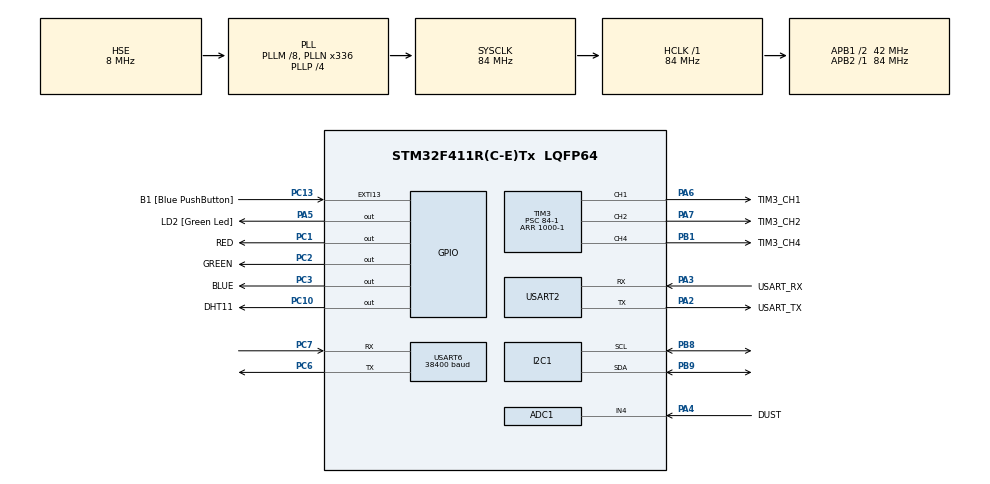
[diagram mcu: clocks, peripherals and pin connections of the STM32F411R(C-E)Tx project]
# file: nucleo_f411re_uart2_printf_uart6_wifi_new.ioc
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ADC1.Channel-3\#ChannelRegularConversion=ADC_CHANNEL_4
ADC1.NbrOfConversionFlag=1
ADC1.Rank-3\#ChannelRegularConversion=1
ADC1.Resolution=ADC_RESOLUTION_10B
ADC1.SamplingTime-3\#ChannelRegularConversion=ADC_SAMPLETIME_3CYCLES
ADC1.master=1
Mcu.Family=STM32F4
Mcu.Name=STM32F411R(C-E)Tx
Mcu.Package=LQFP64
NVIC.PriorityGroup=NVIC_PRIORITYGROUP_0
NVIC.TIM3_IRQn=true\:0\:0\:false\:false\:true\:true\:true\:true
NVIC.USART2_IRQn=true\:0\:0\:false\:false\:true\:true\:true\:true
NVIC.USART6_IRQn=true\:0\:0\:false\:false\:true\:true\:true\:true
PA13.GPIO_Label=TMS
PA13.Mode=Serial_Wire
PA13.Signal=SYS_JTMS-SWDIO
PA14.GPIO_Label=TCK
PA14.Mode=Serial_Wire
PA14.Signal=SYS_JTCK-SWCLK
PA2.GPIO_Label=USART_TX
PA2.Mode=Asynchronous
PA2.Signal=USART2_TX
PA3.GPIO_Label=USART_RX
PA3.Mode=Asynchronous
PA3.Signal=USART2_RX
PA4.GPIO_Label=DUST
PA4.Signal=ADCx_IN4
PA5.GPIO_Label=LD2 [Green Led]
PA5.Signal=GPIO_Output
PA6.GPIO_Label=TIM3_CH1
PA6.Signal=S_TIM3_CH1
PA7.GPIO_Label=TIM3_CH2
PA7.Signal=S_TIM3_CH2
PB1.GPIO_Label=TIM3_CH4
PB1.Signal=S_TIM3_CH4
PB3.GPIO_Label=SWO
PB3.Signal=SYS_JTDO-SWO
PB8.Mode=I2C
PB8.Signal=I2C1_SCL
PB9.Mode=I2C
PB9.Signal=I2C1_SDA
PC1.GPIO_Label=RED
PC1.Signal=GPIO_Output
PC10.GPIO_Label=DHT11
PC10.GPIO_ModeDefaultOutputPP=GPIO_MODE_OUTPUT_PP
PC10.Signal=GPIO_Output
PC13-ANTI_TAMP.GPIO_Label=B1 [Blue PushButton]
PC13-ANTI_TAMP.GPIO_ModeDefaultEXTI=GPIO_MODE_IT_FALLING
PC13-ANTI_TAMP.Signal=GPXTI13
PC14-OSC32_IN.Signal=RCC_OSC32_IN
PC15-OSC32_OUT.Signal=RCC_OSC32_OUT
PC2.GPIO_Label=GREEN
PC2.Signal=GPIO_Output
PC3.GPIO_Label=BLUE
PC3.Signal=GPIO_Output
PC6.Mode=Asynchronous
PC6.Signal=USART6_TX
PC7.Mode=Asynchronous
PC7.Signal=USART6_RX
PH0\ -\ OSC_IN.Mode=HSE-External-Oscillator
PH0\ -\ OSC_IN.Signal=RCC_OSC_IN
PH1\ -\ OSC_OUT.Mode=HSE-External-Oscillator
PH1\ -\ OSC_OUT.Signal=RCC_OSC_OUT
ProjectManager.HeapSize=0x200
ProjectManager.StackSize=0x400
ProjectManager.TargetToolchain=STM32CubeIDE
RCC.48MHZClocksFreq_Value=84000000
RCC.AHBFreq_Value=84000000
RCC.APB1CLKDivider=RCC_HCLK_DIV2
RCC.APB1Freq_Value=42000000
RCC.APB1TimFreq_Value=84000000
RCC.APB2Freq_Value=84000000
RCC.APB2TimFreq_Value=84000000
RCC.CortexFreq_Value=84000000
RCC.FLatency-AdvancedSettings=FLASH_LATENCY_2
RCC.HCLKFreq_Value=84000000
RCC.HSE_VALUE=8000000
RCC.HSI_VALUE=16000000
RCC.LSE_VALUE=32768
RCC.PLLM=8
RCC.PLLN=336
RCC.PLLP=RCC_PLLP_DIV4
RCC.PLLSourceVirtual=RCC_PLLSOURCE_HSE
RCC.SYSCLKFreq_VALUE=84000000
RCC.SYSCLKSource=RCC_SYSCLKSOURCE_PLLCLK
RCC.VCOOutputFreq_Value=336000000
SH.ADCx_IN4.0=ADC1_IN4,IN4
SH.S_TIM3_CH1.0=TIM3_CH1,PWM Generation1 CH1
SH.S_TIM3_CH2.0=TIM3_CH2,PWM Generation2 CH2
SH.S_TIM3_CH4.0=TIM3_CH4,PWM Generation4 CH4
TIM3.AutoReloadPreload=TIM_AUTORELOAD_PRELOAD_ENABLE
TIM3.Channel-PWM\ Generation1\ CH1=TIM_CHANNEL_1
TIM3.Channel-PWM\ Generation2\ CH2=TIM_CHANNEL_2
TIM3.Channel-PWM\ Generation4\ CH4=TIM_CHANNEL_4
TIM3.Period=1000-1
TIM3.Prescaler=84-1
TIM3.Pulse-PWM\ Generation1\ CH1=500
TIM3.Pulse-PWM\ Generation2\ CH2=500
TIM3.Pulse-PWM\ Generation4\ CH4=320
USART2.VirtualMode=VM_ASYNC
USART6.BaudRate=38400
USART6.VirtualMode=VM_ASYNC
VP_TIM3_VS_ClockSourceINT.Mode=Internal
board=NUCLEO-F411RE

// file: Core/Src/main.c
/* USER CODE BEGIN Header */
/**
  ******************************************************************************
  * @file           : main.c
  * @brief          : Main program body
  ******************************************************************************
  * @attention
  *
  * Copyright (c) 2024 STMicroelectronics.
  * All rights reserved.
  *
  * This software is licensed under terms that can be found in the LICENSE file
  * in the root directory of this software component.
  * If no LICENSE file comes with this software, it is provided AS-IS.
  *
  ******************************************************************************
  */
/* USER CODE END Header */
#include "main.h"

/* USER CODE BEGIN Includes */
#include <stdio.h>
#include <stdlib.h>
#include <string.h>
#include "esp.h"
#include "dht.h"
#include "clcd.h"
/* USER CODE END Includes */

/* USER CODE BEGIN PD */
#ifdef __GNUC__
/* With GCC, small printf (option LD Linker->Libraries->Small printf
   set to 'Yes') calls __io_putchar() */
#define PUTCHAR_PROTOTYPE int __io_putchar(int ch)
#else
#define PUTCHAR_PROTOTYPE int fputc(int ch, FILE *f)
#endif /* __GNUC__ */
#define ARR_CNT 5
#define CMD_SIZE 50

/* USER CODE END PD */

ADC_HandleTypeDef hadc1;

I2C_HandleTypeDef hi2c1;

TIM_HandleTypeDef htim3;

UART_HandleTypeDef huart2;
UART_HandleTypeDef huart6;

/* USER CODE BEGIN PV */
uint8_t rx2char;
volatile uint8_t Auto;
extern cb_data_t cb_data;
extern volatile unsigned char rx2Flag;
extern volatile char rx2Data[50];
volatile int tim3Flag1Sec=1;
volatile unsigned int tim3Sec;
/* USER CODE END PV */

void SystemClock_Config(void);
static void MX_GPIO_Init(void);
static void MX_USART2_UART_Init(void);
static void MX_USART6_UART_Init(void);
static void MX_TIM3_Init(void);
static void MX_I2C1_Init(void);
static void MX_ADC1_Init(void);
/* USER CODE BEGIN PFP */
char strBuff[MAX_ESP_COMMAND_LEN];
void MX_GPIO_LED_ON(int flag);
void MX_GPIO_LED_OFF(int flag);
void esp_event(char *);
void Start_DustSensor_LED(void);
void Stop_DustSensor_LED(void);
float Read_DustSensor(void);
/* USER CODE END PFP */

int main(void)
{

  /* USER CODE BEGIN 1 */
	Auto = 0;
	int ret = 0;
	int pulse = 0;
	int temp_pulse = 0;
	char char_temp[20];
	float temp;
	float dust;
  /* USER CODE END 1 */

  /* MCU Configuration--------------------------------------------------------*/

  /* Reset of all peripherals, Initializes the Flash interface and the Systick. */
  HAL_Init();

  /* Configure the system clock */
  SystemClock_Config();

  /* Initialize all configured peripherals */
  MX_GPIO_Init();
  MX_USART2_UART_Init();
  MX_USART6_UART_Init();
  MX_TIM3_Init();
  MX_I2C1_Init();
  MX_ADC1_Init();
  /* USER CODE BEGIN 2 */
  printf("Start main() - wifi\r\n");
  HAL_UART_Receive_IT(&huart2, &rx2char,1);
  DHT11_Init();
  LCD_init(&hi2c1);
  DHT11_TypeDef dht11Data = DHT11_readData();;
  char buff[200];

  LCD_writeStringXY(0, 0, "hello lcd");
  ret |= drv_uart_init();
  ret |= drv_esp_init();
  if(ret != 0)
  {
	  printf("Esp response error\r\n");
	  Error_Handler();
  }

  AiotClient_Init();
  if(HAL_TIM_Base_Start_IT(&htim3) != HAL_OK)
  {
	  Error_Handler();
  }
  if(HAL_TIM_PWM_Start(&htim3, TIM_CHANNEL_1) != HAL_OK)
  {
	  Error_Handler();
  }
  if(HAL_TIM_PWM_Start(&htim3, TIM_CHANNEL_2) != HAL_OK)
    {
  	  Error_Handler();
    }
  /* USER CODE END 2 */

  /* Infinite loop */
  /* USER CODE BEGIN WHILE */
  while (1)
  {

		if(strstr((char *)cb_data.buf,"+IPD") && cb_data.buf[cb_data.length-1] == '\n')
		{
			//?��?��?���??  \r\n+IPD,15:[KSH_LIN]HELLO\n
			strcpy(strBuff,strchr((char *)cb_data.buf,'['));
			memset(cb_data.buf,0x0,sizeof(cb_data.buf));
			cb_data.length = 0;
			esp_event(strBuff);
		}
		if(rx2Flag)
		{
			printf("recv2 : %s\r\n",rx2Data);
			rx2Flag =0;
		}
		if( dust < 5)
		{
		    HAL_GPIO_WritePin(BLUE_GPIO_Port, BLUE_Pin, GPIO_PIN_SET);
			HAL_GPIO_WritePin(GREEN_GPIO_Port, GREEN_Pin, GPIO_PIN_RESET);
			HAL_GPIO_WritePin(RED_GPIO_Port, RED_Pin, GPIO_PIN_RESET);
		}
		else if (5 <= dust && dust< 10)
		{
			HAL_GPIO_WritePin(RED_GPIO_Port, RED_Pin, GPIO_PIN_RESET);
			HAL_GPIO_WritePin(BLUE_GPIO_Port, BLUE_Pin, GPIO_PIN_RESET);
			HAL_GPIO_WritePin(GREEN_GPIO_Port, GREEN_Pin, GPIO_PIN_SET);
		}
		else
		{
			HAL_GPIO_WritePin(RED_GPIO_Port, RED_Pin, GPIO_PIN_SET);
			HAL_GPIO_WritePin(GREEN_GPIO_Port, GREEN_Pin, GPIO_PIN_RESET);
			HAL_GPIO_WritePin(BLUE_GPIO_Port, BLUE_Pin, GPIO_PIN_RESET);
		}
		if(Auto == 1)
		{
			if( dht11Data.rh_byte1 < 30)
				{
					pulse = 0;
				}
			else if (30 <= dht11Data.rh_byte1 && dht11Data.rh_byte1< 60)
				{
					pulse = 500;
				}
			else
				{
					pulse = 1000;
				}
			__HAL_TIM_SetCompare(&htim3, TIM_CHANNEL_1, (pulse-1)<0?0:pulse-1 );

			sprintf(char_temp,"%d.%d",dht11Data.temp_byte1,dht11Data.temp_byte2);
			temp = atof(char_temp);
			if( temp < 26.5)
				{
					temp_pulse = 0;
				}
			else if (26.5 <= temp && temp < 27.3)
				{
					temp_pulse = 500;
				}
			else
				{
					temp_pulse = 1000;
				}
			__HAL_TIM_SetCompare(&htim3, TIM_CHANNEL_2, (temp_pulse-1)<0?0:temp_pulse-1 );
		}
		else if (Auto == 0)
		{
			temp_pulse = 0;
			pulse = 0;
			__HAL_TIM_SetCompare(&htim3, TIM_CHANNEL_1, (pulse-1)<0?0:pulse-1 );
			__HAL_TIM_SetCompare(&htim3, TIM_CHANNEL_2, (temp_pulse-1)<0?0:temp_pulse-1 );

		}

		if(tim3Flag1Sec)	//1초에 한번
		{
			dht11Data = DHT11_readData();
			tim3Flag1Sec = 0;
			sprintf(buff,"h: %d%% t: %d.%d'C", dht11Data.rh_byte1, dht11Data.temp_byte1, dht11Data.temp_byte2);
			LCD_writeStringXY(1, 0, buff);
			if(!(tim3Sec%5))
			{
				Start_DustSensor_LED();    // LED 켜기
				HAL_Delay(1);              // 안정화 시간
				dust = Read_DustSensor();  // 미세먼지 값 읽기
				Stop_DustSensor_LED();     // LED 끄기
				printf("Dust Density: %.2f ug/m^3\n", dust);
				sprintf(buff,"dust:%.2f", dust);
				LCD_writeStringXY(0, 0, buff);
			}
			if(!(tim3Sec%20)) //20초에 한번
			{
				if(esp_get_status() != 0)
				{
					printf("server connecting ...\r\n");
					esp_client_conn();
				}
				sprintf(buff,"[KTH_SQL]SENSOR@%d@%d.%d@%.1f\n", dht11Data.rh_byte1, dht11Data.temp_byte1, dht11Data.temp_byte2, dust);
				esp_send_data(buff);
			}
		}

    /* USER CODE END WHILE */

  }
}

void SystemClock_Config(void)
{
  RCC_OscInitTypeDef RCC_OscInitStruct = {0};
  RCC_ClkInitTypeDef RCC_ClkInitStruct = {0};

  /** Configure the main internal regulator output voltage
  */
  __HAL_RCC_PWR_CLK_ENABLE();
  __HAL_PWR_VOLTAGESCALING_CONFIG(PWR_REGULATOR_VOLTAGE_SCALE1);

  /** Initializes the RCC Oscillators according to the specified parameters
  * in the RCC_OscInitTypeDef structure.
  */
  RCC_OscInitStruct.OscillatorType = RCC_OSCILLATORTYPE_HSE;
  RCC_OscInitStruct.HSEState = RCC_HSE_ON;
  RCC_OscInitStruct.PLL.PLLState = RCC_PLL_ON;
  RCC_OscInitStruct.PLL.PLLSource = RCC_PLLSOURCE_HSE;
  RCC_OscInitStruct.PLL.PLLM = 8;
  RCC_OscInitStruct.PLL.PLLN = 336;
  RCC_OscInitStruct.PLL.PLLP = RCC_PLLP_DIV4;
  RCC_OscInitStruct.PLL.PLLQ = 4;
  if (HAL_RCC_OscConfig(&RCC_OscInitStruct) != HAL_OK)
  {
    Error_Handler();
  }

  /** Initializes the CPU, AHB and APB buses clocks
  */
  RCC_ClkInitStruct.ClockType = RCC_CLOCKTYPE_HCLK|RCC_CLOCKTYPE_SYSCLK
                              |RCC_CLOCKTYPE_PCLK1|RCC_CLOCKTYPE_PCLK2;
  RCC_ClkInitStruct.SYSCLKSource = RCC_SYSCLKSOURCE_PLLCLK;
  RCC_ClkInitStruct.AHBCLKDivider = RCC_SYSCLK_DIV1;
  RCC_ClkInitStruct.APB1CLKDivider = RCC_HCLK_DIV2;
  RCC_ClkInitStruct.APB2CLKDivider = RCC_HCLK_DIV1;

  if (HAL_RCC_ClockConfig(&RCC_ClkInitStruct, FLASH_LATENCY_2) != HAL_OK)
  {
    Error_Handler();
  }
}

static void MX_ADC1_Init(void)
{

  ADC_ChannelConfTypeDef sConfig = {0};

  /** Configure the global features of the ADC (Clock, Resolution, Data Alignment and number of conversion)
  */
  hadc1.Instance = ADC1;
  hadc1.Init.ClockPrescaler = ADC_CLOCK_SYNC_PCLK_DIV4;
  hadc1.Init.Resolution = ADC_RESOLUTION_10B;
  hadc1.Init.ScanConvMode = DISABLE;
  hadc1.Init.ContinuousConvMode = DISABLE;
  hadc1.Init.DiscontinuousConvMode = DISABLE;
  hadc1.Init.ExternalTrigConvEdge = ADC_EXTERNALTRIGCONVEDGE_NONE;
  hadc1.Init.ExternalTrigConv = ADC_SOFTWARE_START;
  hadc1.Init.DataAlign = ADC_DATAALIGN_RIGHT;
  hadc1.Init.NbrOfConversion = 1;
  hadc1.Init.DMAContinuousRequests = DISABLE;
  hadc1.Init.EOCSelection = ADC_EOC_SINGLE_CONV;
  if (HAL_ADC_Init(&hadc1) != HAL_OK)
  {
    Error_Handler();
  }

  /** Configure for the selected ADC regular channel its corresponding rank in the sequencer and its sample time.
  */
  sConfig.Channel = ADC_CHANNEL_4;
  sConfig.Rank = 1;
  sConfig.SamplingTime = ADC_SAMPLETIME_3CYCLES;
  if (HAL_ADC_ConfigChannel(&hadc1, &sConfig) != HAL_OK)
  {
    Error_Handler();
  }

}

static void MX_I2C1_Init(void)
{

  hi2c1.Instance = I2C1;
  hi2c1.Init.ClockSpeed = 100000;
  hi2c1.Init.DutyCycle = I2C_DUTYCYCLE_2;
  hi2c1.Init.OwnAddress1 = 0;
  hi2c1.Init.AddressingMode = I2C_ADDRESSINGMODE_7BIT;
  hi2c1.Init.DualAddressMode = I2C_DUALADDRESS_DISABLE;
  hi2c1.Init.OwnAddress2 = 0;
  hi2c1.Init.GeneralCallMode = I2C_GENERALCALL_DISABLE;
  hi2c1.Init.NoStretchMode = I2C_NOSTRETCH_DISABLE;
  if (HAL_I2C_Init(&hi2c1) != HAL_OK)
  {
    Error_Handler();
  }

}

static void MX_TIM3_Init(void)
{

  TIM_ClockConfigTypeDef sClockSourceConfig = {0};
  TIM_MasterConfigTypeDef sMasterConfig = {0};
  TIM_OC_InitTypeDef sConfigOC = {0};

  htim3.Instance = TIM3;
  htim3.Init.Prescaler = 84-1;
  htim3.Init.CounterMode = TIM_COUNTERMODE_UP;
  htim3.Init.Period = 1000-1;
  htim3.Init.ClockDivision = TIM_CLOCKDIVISION_DIV1;
  htim3.Init.AutoReloadPreload = TIM_AUTORELOAD_PRELOAD_ENABLE;
  if (HAL_TIM_Base_Init(&htim3) != HAL_OK)
  {
    Error_Handler();
  }
  sClockSourceConfig.ClockSource = TIM_CLOCKSOURCE_INTERNAL;
  if (HAL_TIM_ConfigClockSource(&htim3, &sClockSourceConfig) != HAL_OK)
  {
    Error_Handler();
  }
  if (HAL_TIM_PWM_Init(&htim3) != HAL_OK)
  {
    Error_Handler();
  }
  sMasterConfig.MasterOutputTrigger = TIM_TRGO_RESET;
  sMasterConfig.MasterSlaveMode = TIM_MASTERSLAVEMODE_DISABLE;
  if (HAL_TIMEx_MasterConfigSynchronization(&htim3, &sMasterConfig) != HAL_OK)
  {
    Error_Handler();
  }
  sConfigOC.OCMode = TIM_OCMODE_PWM1;
  sConfigOC.Pulse = 500;
  sConfigOC.OCPolarity = TIM_OCPOLARITY_HIGH;
  sConfigOC.OCFastMode = TIM_OCFAST_DISABLE;
  if (HAL_TIM_PWM_ConfigChannel(&htim3, &sConfigOC, TIM_CHANNEL_1) != HAL_OK)
  {
    Error_Handler();
  }
  if (HAL_TIM_PWM_ConfigChannel(&htim3, &sConfigOC, TIM_CHANNEL_2) != HAL_OK)
  {
    Error_Handler();
  }
  sConfigOC.Pulse = 320;
  if (HAL_TIM_PWM_ConfigChannel(&htim3, &sConfigOC, TIM_CHANNEL_4) != HAL_OK)
  {
    Error_Handler();
  }
  HAL_TIM_MspPostInit(&htim3);

}

static void MX_USART2_UART_Init(void)
{

  huart2.Instance = USART2;
  huart2.Init.BaudRate = 115200;
  huart2.Init.WordLength = UART_WORDLENGTH_8B;
  huart2.Init.StopBits = UART_STOPBITS_1;
  huart2.Init.Parity = UART_PARITY_NONE;
  huart2.Init.Mode = UART_MODE_TX_RX;
  huart2.Init.HwFlowCtl = UART_HWCONTROL_NONE;
  huart2.Init.OverSampling = UART_OVERSAMPLING_16;
  if (HAL_UART_Init(&huart2) != HAL_OK)
  {
    Error_Handler();
  }

}

static void MX_USART6_UART_Init(void)
{

  huart6.Instance = USART6;
  huart6.Init.BaudRate = 38400;
  huart6.Init.WordLength = UART_WORDLENGTH_8B;
  huart6.Init.StopBits = UART_STOPBITS_1;
  huart6.Init.Parity = UART_PARITY_NONE;
  huart6.Init.Mode = UART_MODE_TX_RX;
  huart6.Init.HwFlowCtl = UART_HWCONTROL_NONE;
  huart6.Init.OverSampling = UART_OVERSAMPLING_16;
  if (HAL_UART_Init(&huart6) != HAL_OK)
  {
    Error_Handler();
  }

}

static void MX_GPIO_Init(void)
{
  GPIO_InitTypeDef GPIO_InitStruct = {0};

  /* GPIO Ports Clock Enable */
  __HAL_RCC_GPIOC_CLK_ENABLE();
  __HAL_RCC_GPIOH_CLK_ENABLE();
  __HAL_RCC_GPIOA_CLK_ENABLE();
  __HAL_RCC_GPIOB_CLK_ENABLE();

  /*Configure GPIO pin Output Level */
  HAL_GPIO_WritePin(GPIOC, RED_Pin|GREEN_Pin|BLUE_Pin|DHT11_Pin, GPIO_PIN_RESET);

  /*Configure GPIO pin Output Level */
  HAL_GPIO_WritePin(LD2_GPIO_Port, LD2_Pin, GPIO_PIN_RESET);

  /*Configure GPIO pin : B1_Pin */
  GPIO_InitStruct.Pin = B1_Pin;
  GPIO_InitStruct.Mode = GPIO_MODE_IT_FALLING;
  GPIO_InitStruct.Pull = GPIO_NOPULL;
  HAL_GPIO_Init(B1_GPIO_Port, &GPIO_InitStruct);

  /*Configure GPIO pins : RED_Pin GREEN_Pin BLUE_Pin DHT11_Pin */
  GPIO_InitStruct.Pin = RED_Pin|GREEN_Pin|BLUE_Pin|DHT11_Pin;
  GPIO_InitStruct.Mode = GPIO_MODE_OUTPUT_PP;
  GPIO_InitStruct.Pull = GPIO_NOPULL;
  GPIO_InitStruct.Speed = GPIO_SPEED_FREQ_LOW;
  HAL_GPIO_Init(GPIOC, &GPIO_InitStruct);

  /*Configure GPIO pin : LD2_Pin */
  GPIO_InitStruct.Pin = LD2_Pin;
  GPIO_InitStruct.Mode = GPIO_MODE_OUTPUT_PP;
  GPIO_InitStruct.Pull = GPIO_NOPULL;
  GPIO_InitStruct.Speed = GPIO_SPEED_FREQ_LOW;
  HAL_GPIO_Init(LD2_GPIO_Port, &GPIO_InitStruct);

}

/* USER CODE BEGIN 4 */
void MX_GPIO_LED_ON(int pin)
{
	HAL_GPIO_WritePin(LD2_GPIO_Port, pin, GPIO_PIN_SET);
}
void MX_GPIO_LED_OFF(int pin)
{
	HAL_GPIO_WritePin(LD2_GPIO_Port, pin, GPIO_PIN_RESET);
}
void esp_event(char * recvBuf)
{
  int i=0;
  char * pToken;
  char * pArray[ARR_CNT]={0};
  char sendBuf[MAX_UART_COMMAND_LEN]={0};

  strBuff[strlen(recvBuf)-1] = '\0';	//'\n' cut
  printf("\r\nDebug recv : %s\r\n",recvBuf);

  pToken = strtok(recvBuf,"[@]");
  while(pToken != NULL)
  {
    pArray[i] = pToken;
    if(++i >= ARR_CNT)
      break;
    pToken = strtok(NULL,"[@]");
  }

  if(!strcmp(pArray[1],"AUTO"))
  {
  	if(!strcmp(pArray[2],"ON"))
  	{
  		MX_GPIO_LED_ON(LD2_Pin);
  		Auto = 1;
  	}
	else if(!strcmp(pArray[2],"OFF"))
	{
		MX_GPIO_LED_OFF(LD2_Pin);
		Auto = 0;
	}
	sprintf(sendBuf,"[%s]%s@%s\n",pArray[0],pArray[1],pArray[2]);
  }
  else if(!strncmp(pArray[1]," New conn",8))
  {
//	   printf("Debug : %s, %s\r\n",pArray[0],pArray[1]);
     return;
  }
  else if(!strncmp(pArray[1]," Already log",8))
  {
// 	    printf("Debug : %s, %s\r\n",pArray[0],pArray[1]);
	  esp_client_conn();
      return;
  }
  else
      return;

  esp_send_data(sendBuf);
  printf("Debug send : %s\r\n",sendBuf);
}

void HAL_TIM_PeriodElapsedCallback(TIM_HandleTypeDef *htim)		//1ms 마다 호출
{
	static int tim3Cnt = 0;
	tim3Cnt++;
	if(tim3Cnt >= 1000) //1ms * 1000 = 1Sec
	{
		tim3Flag1Sec = 1;
		tim3Sec++;
		tim3Cnt = 0;
	}
}

void Start_DustSensor_LED(void) {
    // LED ON (PB14 HIGH)
    HAL_GPIO_WritePin(TIM3_CH4_GPIO_Port, TIM3_CH4_Pin, GPIO_PIN_SET);

    // 0.32ms 대기 (320us)
    HAL_Delay(1); // 최소 1ms 대기 (HAL_Delay는 ms 단위)
}

void Stop_DustSensor_LED(void) {
    // LED OFF (PB14 LOW)
    HAL_GPIO_WritePin(TIM3_CH4_GPIO_Port, TIM3_CH4_Pin, GPIO_PIN_RESET);
}

float Read_DustSensor(void) {
    uint32_t adc_value = 0;
    float voltage = 0.0;
    float dust_density = 0.0;

    // ADC 변환 시작
    HAL_ADC_Start(&hadc1);
    HAL_ADC_PollForConversion(&hadc1, 10);  // 변환 완료 대기
    adc_value = HAL_ADC_GetValue(&hadc1);
    HAL_ADC_Stop(&hadc1);

    // ADC 값을 전압으로 변환 (STM32는 3.3V 기준)
    voltage = (adc_value / 1023.0) * 3.3 * 1.5;

    // 전압을 미세먼지 농도 (mg/m^3)로 변환
    dust_density = (voltage - 0.03) / 0.5 * 100.0; // 공식 사용

    return dust_density;
}
/* USER CODE END 4 */

void Error_Handler(void)
{
  __disable_irq();
  while (1)
  {
  }
}
